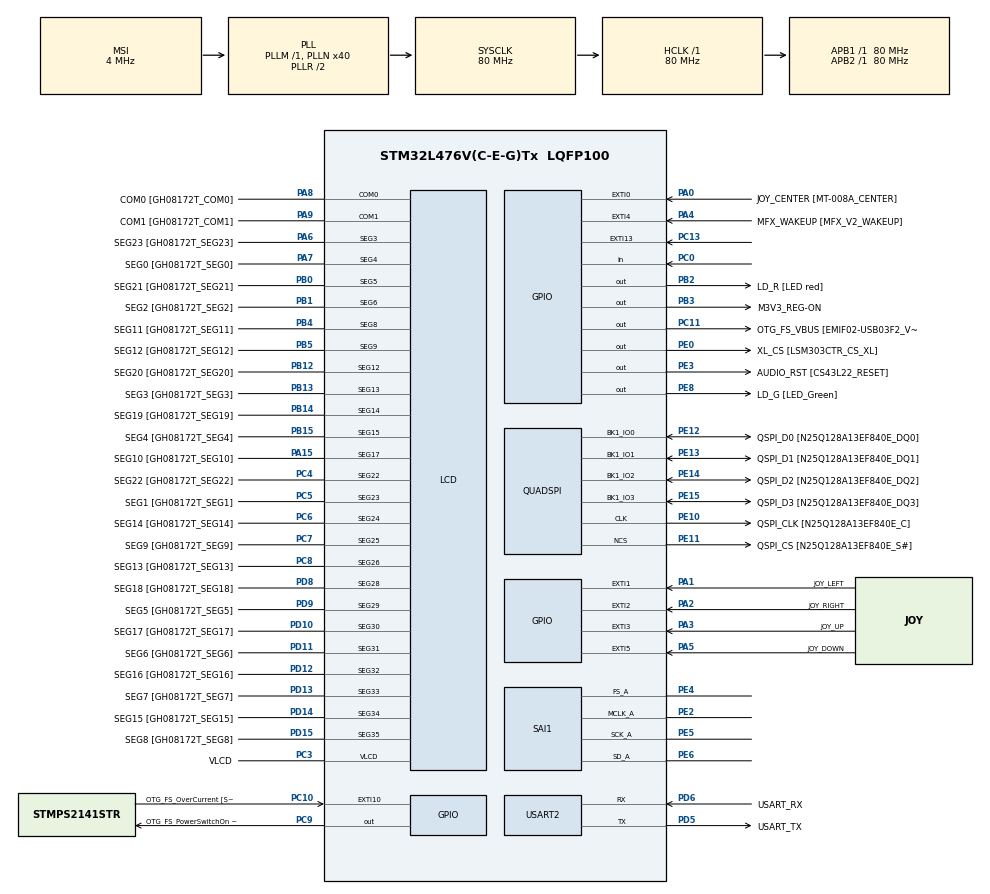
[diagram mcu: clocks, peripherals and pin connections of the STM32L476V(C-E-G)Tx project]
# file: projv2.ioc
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ADC1.AutoInjectedConv=DISABLE
ADC1.Channel-0\#ChannelRegularConversion=ADC_CHANNEL_TEMPSENSOR
ADC1.ClockPrescaler=ADC_CLOCK_ASYNC_DIV8
ADC1.ContinuousConvMode=DISABLE
ADC1.DMAContinuousRequests=DISABLE
ADC1.DataAlign=ADC_DATAALIGN_RIGHT
ADC1.DiscontinuousConvMode=DISABLE
ADC1.EOCSelection=ADC_EOC_SINGLE_CONV
ADC1.EnableAnalogWatchDog1=false
ADC1.EnableAnalogWatchDog2=false
ADC1.EnableAnalogWatchDog3=false
ADC1.EnableInjectedConversion=DISABLE
ADC1.EnableRegularConversion=ENABLE
ADC1.ExternalTrigConv=ADC_SOFTWARE_START
ADC1.ExternalTrigConvEdge=ADC_EXTERNALTRIGCONVEDGE_NONE
ADC1.InjectedDiscontinuousConvMode=DISABLE
ADC1.LowPowerAutoWait=DISABLE
ADC1.NbrOfConversion=1
ADC1.NbrOfConversionFlag=1
ADC1.OffsetNumber-0\#ChannelRegularConversion=ADC_OFFSET_NONE
ADC1.Overrun=ADC_OVR_DATA_PRESERVED
ADC1.OversamplingMode=DISABLE
ADC1.Rank-0\#ChannelRegularConversion=1
ADC1.Resolution=ADC_RESOLUTION_12B
ADC1.SamplingTime-0\#ChannelRegularConversion=ADC_SAMPLETIME_640CYCLES_5
ADC1.ScanConvMode=ADC_SCAN_DISABLE
ADC1.SingleDiff-0\#ChannelRegularConversion=ADC_SINGLE_ENDED
ADC1.master=1
Mcu.Family=STM32L4
Mcu.Name=STM32L476V(C-E-G)Tx
Mcu.Package=LQFP100
NVIC.ADC1_2_IRQn=true\:0\:0\:false\:false\:true
NVIC.EXTI0_IRQn=true\:0\:0\:false\:false\:true
NVIC.EXTI15_10_IRQn=true\:0\:0\:false\:false\:true
NVIC.EXTI1_IRQn=true\:0\:0\:false\:false\:true
NVIC.EXTI2_IRQn=true\:0\:0\:false\:false\:true
NVIC.EXTI3_IRQn=true\:0\:0\:false\:false\:true
NVIC.EXTI9_5_IRQn=true\:0\:0\:false\:false\:true
NVIC.PriorityGroup=NVIC_PRIORITYGROUP_4
NVIC.RTC_Alarm_IRQn=true\:0\:0\:false\:false\:true
NVIC.USART2_IRQn=true\:0\:0\:false\:false\:true
PA0.GPIO_Label=JOY_CENTER [MT-008A_CENTER]
PA0.GPIO_ModeDefaultEXTI=GPIO_MODE_IT_FALLING
PA0.Signal=GPXTI0
PA1.GPIO_Label=JOY_LEFT
PA1.GPIO_ModeDefaultEXTI=GPIO_MODE_IT_FALLING
PA1.GPIO_PuPd=GPIO_PULLDOWN
PA1.Signal=GPXTI1
PA10.GPIO_Label=COM2 [GH08172T_COM2]
PA10.GPIO_Mode=GPIO_MODE_AF_PP
PA10.GPIO_PuPd=GPIO_NOPULL
PA10.GPIO_Speed=GPIO_SPEED_FREQ_LOW
PA10.Signal=LCD_COM2
PA11.GPIO_Label=OTG_FS_DM [EMIF02-USB03F2_D-out]
PA11.GPIO_Mode=GPIO_MODE_AF_PP
PA11.GPIO_PuPd=GPIO_NOPULL
PA11.GPIO_Speed=GPIO_SPEED_FREQ_VERY_HIGH
PA11.Signal=USB_OTG_FS_DM
PA12.GPIO_Label=OTG_FS_DP [EMIF02-USB03F2_D+out]
PA12.GPIO_Mode=GPIO_MODE_AF_PP
PA12.GPIO_PuPd=GPIO_NOPULL
PA12.GPIO_Speed=GPIO_SPEED_FREQ_VERY_HIGH
PA12.Signal=USB_OTG_FS_DP
PA13.GPIO_Label=SWDIO
PA13.Signal=SYS_JTMS-SWDIO
PA14.GPIO_Label=SWCLK
PA14.Signal=SYS_JTCK-SWCLK
PA15.GPIO_Label=SEG10 [GH08172T_SEG10]
PA15.GPIO_Mode=GPIO_MODE_AF_PP
PA15.GPIO_PuPd=GPIO_NOPULL
PA15.GPIO_Speed=GPIO_SPEED_FREQ_LOW
PA15.Mode=SEG17
PA15.Signal=LCD_SEG17
PA2.GPIO_Label=JOY_RIGHT
PA2.GPIO_ModeDefaultEXTI=GPIO_MODE_IT_FALLING
PA2.GPIO_PuPd=GPIO_PULLDOWN
PA2.Signal=GPXTI2
PA3.GPIO_Label=JOY_UP
PA3.GPIO_ModeDefaultEXTI=GPIO_MODE_IT_FALLING
PA3.GPIO_PuPd=GPIO_PULLDOWN
PA3.Signal=GPXTI3
PA4.GPIO_Label=MFX_WAKEUP [MFX_V2_WAKEUP]
PA4.GPIO_ModeDefaultEXTI=GPIO_MODE_EVT_RISING
PA4.GPIO_PuPd=GPIO_NOPULL
PA4.Signal=GPXTI4
PA5.GPIO_Label=JOY_DOWN
PA5.GPIO_ModeDefaultEXTI=GPIO_MODE_IT_FALLING
PA5.GPIO_PuPd=GPIO_PULLDOWN
PA5.Signal=GPXTI5
PA6.GPIO_Label=SEG23 [GH08172T_SEG23]
PA6.GPIO_Mode=GPIO_MODE_AF_PP
PA6.GPIO_PuPd=GPIO_NOPULL
PA6.GPIO_Speed=GPIO_SPEED_FREQ_LOW
PA6.Mode=SEG3
PA6.Signal=LCD_SEG3
PA7.GPIO_Label=SEG0 [GH08172T_SEG0]
PA7.GPIO_Mode=GPIO_MODE_AF_PP
PA7.GPIO_PuPd=GPIO_NOPULL
PA7.GPIO_Speed=GPIO_SPEED_FREQ_LOW
PA7.Mode=SEG4
PA7.Signal=LCD_SEG4
PA8.GPIO_Label=COM0 [GH08172T_COM0]
PA8.GPIO_Mode=GPIO_MODE_AF_PP
PA8.GPIO_PuPd=GPIO_NOPULL
PA8.GPIO_Speed=GPIO_SPEED_FREQ_LOW
PA8.Mode=1/2 Duty Cycle
PA8.Signal=LCD_COM0
PA9.GPIO_Label=COM1 [GH08172T_COM1]
PA9.GPIO_Mode=GPIO_MODE_AF_PP
PA9.GPIO_PuPd=GPIO_NOPULL
PA9.GPIO_Speed=GPIO_SPEED_FREQ_LOW
PA9.Mode=1/2 Duty Cycle
PA9.Signal=LCD_COM1
PB0.GPIO_Label=SEG21 [GH08172T_SEG21]
PB0.GPIO_Mode=GPIO_MODE_AF_PP
PB0.GPIO_PuPd=GPIO_NOPULL
PB0.GPIO_Speed=GPIO_SPEED_FREQ_LOW
PB0.Mode=SEG5
PB0.Signal=LCD_SEG5
PB1.GPIO_Label=SEG2 [GH08172T_SEG2]
PB1.GPIO_Mode=GPIO_MODE_AF_PP
PB1.GPIO_PuPd=GPIO_NOPULL
PB1.GPIO_Speed=GPIO_SPEED_FREQ_LOW
PB1.Mode=SEG6
PB1.Signal=LCD_SEG6
PB10.GPIO_Label=MFX_I2C_SLC [MFX_V2_I2C_SCL]
PB10.GPIO_Mode=GPIO_MODE_AF_OD
PB10.GPIO_PuPdOD=GPIO_PULLUP
PB10.GPIO_Speed=GPIO_SPEED_FREQ_VERY_HIGH
PB10.Signal=I2C2_SCL
PB11.GPIO_Label=MFX_I2C_SDA [MFX_V2_I2C_SDA]
PB11.GPIO_Mode=GPIO_MODE_AF_OD
PB11.GPIO_PuPdOD=GPIO_PULLUP
PB11.GPIO_Speed=GPIO_SPEED_FREQ_VERY_HIGH
PB11.Signal=I2C2_SDA
PB12.GPIO_Label=SEG20 [GH08172T_SEG20]
PB12.GPIO_Mode=GPIO_MODE_AF_PP
PB12.GPIO_PuPd=GPIO_NOPULL
PB12.GPIO_Speed=GPIO_SPEED_FREQ_LOW
PB12.Mode=SEG12
PB12.Signal=LCD_SEG12
PB13.GPIO_Label=SEG3 [GH08172T_SEG3]
PB13.GPIO_Mode=GPIO_MODE_AF_PP
PB13.GPIO_PuPd=GPIO_NOPULL
PB13.GPIO_Speed=GPIO_SPEED_FREQ_LOW
PB13.Mode=SEG13
PB13.Signal=LCD_SEG13
PB14.GPIO_Label=SEG19 [GH08172T_SEG19]
PB14.GPIO_Mode=GPIO_MODE_AF_PP
PB14.GPIO_PuPd=GPIO_NOPULL
PB14.GPIO_Speed=GPIO_SPEED_FREQ_LOW
PB14.Mode=SEG14
PB14.Signal=LCD_SEG14
PB15.GPIO_Label=SEG4 [GH08172T_SEG4]
PB15.GPIO_Mode=GPIO_MODE_AF_PP
PB15.GPIO_PuPd=GPIO_NOPULL
PB15.GPIO_Speed=GPIO_SPEED_FREQ_LOW
PB15.Mode=SEG15
PB15.Signal=LCD_SEG15
PB2.GPIO_Label=LD_R [LED red]
PB2.GPIO_ModeDefaultOutputPP=GPIO_MODE_OUTPUT_PP
PB2.GPIO_PuPd=GPIO_PULLUP
PB2.GPIO_Speed=GPIO_SPEED_FREQ_VERY_HIGH
PB2.Signal=GPIO_Output
PB3.GPIO_Label=M3V3_REG-ON
PB3.GPIO_ModeDefaultOutputPP=GPIO_MODE_OUTPUT_PP
PB3.GPIO_PuPd=GPIO_NOPULL
PB3.GPIO_Speed=GPIO_SPEED_FREQ_LOW
PB3.Signal=GPIO_Output
PB4.GPIO_Label=SEG11 [GH08172T_SEG11]
PB4.GPIO_Mode=GPIO_MODE_AF_PP
PB4.GPIO_PuPd=GPIO_NOPULL
PB4.GPIO_Speed=GPIO_SPEED_FREQ_LOW
PB4.Mode=SEG8
PB4.Signal=LCD_SEG8
PB5.GPIO_Label=SEG12 [GH08172T_SEG12]
PB5.GPIO_Mode=GPIO_MODE_AF_PP
PB5.GPIO_PuPd=GPIO_NOPULL
PB5.GPIO_Speed=GPIO_SPEED_FREQ_LOW
PB5.Mode=SEG9
PB5.Signal=LCD_SEG9
PB9.GPIO_FM9=__NULL
PB9.GPIO_Label=COM3 [GH08172T_COM3]
PB9.GPIO_Mode=GPIO_MODE_AF_PP
PB9.GPIO_PuPd=GPIO_NOPULL
PB9.GPIO_Speed=GPIO_SPEED_FREQ_LOW
PB9.Signal=LCD_COM3
PC0.Signal=GPIO_Input
PC10.GPIO_Label=OTG_FS_OverCurrent [STMPS2141STR_FAULT]
PC10.GPIO_ModeDefaultEXTI=GPIO_MODE_EVT_RISING
PC10.GPIO_PuPd=GPIO_NOPULL
PC10.Signal=GPXTI10
PC11.GPIO_Label=OTG_FS_VBUS [EMIF02-USB03F2_Vbus]
PC11.GPIO_ModeDefaultOutputPP=GPIO_MODE_OUTPUT_PP
PC11.GPIO_PuPd=GPIO_NOPULL
PC11.GPIO_Speed=GPIO_SPEED_FREQ_LOW
PC11.Signal=GPIO_Output
PC13.Signal=GPXTI13
PC14/OSC32_IN.Signal=RCC_OSC32_IN
PC15/OSC32_OUT.Signal=RCC_OSC32_OUT
PC3.GPIO_Label=VLCD
PC3.GPIO_Mode=GPIO_MODE_AF_PP
PC3.GPIO_PuPd=GPIO_NOPULL
PC3.GPIO_Speed=GPIO_SPEED_FREQ_LOW
PC3.Mode=1/2 Duty Cycle
PC3.Signal=LCD_VLCD
PC4.GPIO_Label=SEG22 [GH08172T_SEG22]
PC4.GPIO_Mode=GPIO_MODE_AF_PP
PC4.GPIO_PuPd=GPIO_NOPULL
PC4.GPIO_Speed=GPIO_SPEED_FREQ_LOW
PC4.Mode=SEG22
PC4.Signal=LCD_SEG22
PC5.GPIO_Label=SEG1 [GH08172T_SEG1]
PC5.GPIO_Mode=GPIO_MODE_AF_PP
PC5.GPIO_PuPd=GPIO_NOPULL
PC5.GPIO_Speed=GPIO_SPEED_FREQ_LOW
PC5.Mode=SEG23
PC5.Signal=LCD_SEG23
PC6.GPIO_Label=SEG14 [GH08172T_SEG14]
PC6.GPIO_Mode=GPIO_MODE_AF_PP
PC6.GPIO_PuPd=GPIO_NOPULL
PC6.GPIO_Speed=GPIO_SPEED_FREQ_LOW
PC6.Mode=SEG24
PC6.Signal=LCD_SEG24
PC7.GPIO_Label=SEG9 [GH08172T_SEG9]
PC7.GPIO_Mode=GPIO_MODE_AF_PP
PC7.GPIO_PuPd=GPIO_NOPULL
PC7.GPIO_Speed=GPIO_SPEED_FREQ_LOW
PC7.Mode=SEG25
PC7.Signal=LCD_SEG25
PC8.GPIO_Label=SEG13 [GH08172T_SEG13]
PC8.GPIO_Mode=GPIO_MODE_AF_PP
PC8.GPIO_PuPd=GPIO_NOPULL
PC8.GPIO_Speed=GPIO_SPEED_FREQ_LOW
PC8.Mode=SEG26
PC8.Signal=LCD_SEG26
PC9.GPIO_Label=OTG_FS_PowerSwitchOn [STMPS2141STR_EN]
PC9.GPIO_ModeDefaultOutputPP=GPIO_MODE_OUTPUT_PP
PC9.GPIO_PuPd=GPIO_NOPULL
PC9.GPIO_Speed=GPIO_SPEED_FREQ_LOW
PC9.PinState=GPIO_PIN_SET
PC9.Signal=GPIO_Output
PD10.GPIO_Label=SEG17 [GH08172T_SEG17]
PD10.GPIO_Mode=GPIO_MODE_AF_PP
PD10.GPIO_PuPd=GPIO_NOPULL
PD10.GPIO_Speed=GPIO_SPEED_FREQ_LOW
PD10.Mode=SEG30
PD10.Signal=LCD_SEG30
PD11.GPIO_Label=SEG6 [GH08172T_SEG6]
PD11.GPIO_Mode=GPIO_MODE_AF_PP
PD11.GPIO_PuPd=GPIO_NOPULL
PD11.GPIO_Speed=GPIO_SPEED_FREQ_LOW
PD11.Mode=SEG31
PD11.Signal=LCD_SEG31
PD12.GPIO_Label=SEG16 [GH08172T_SEG16]
PD12.GPIO_Mode=GPIO_MODE_AF_PP
PD12.GPIO_PuPd=GPIO_NOPULL
PD12.GPIO_Speed=GPIO_SPEED_FREQ_LOW
PD12.Mode=SEG32
PD12.Signal=LCD_SEG32
PD13.GPIO_Label=SEG7 [GH08172T_SEG7]
PD13.GPIO_Mode=GPIO_MODE_AF_PP
PD13.GPIO_PuPd=GPIO_NOPULL
PD13.GPIO_Speed=GPIO_SPEED_FREQ_LOW
PD13.Mode=SEG33
PD13.Signal=LCD_SEG33
PD14.GPIO_Label=SEG15 [GH08172T_SEG15]
PD14.GPIO_Mode=GPIO_MODE_AF_PP
PD14.GPIO_PuPd=GPIO_NOPULL
PD14.GPIO_Speed=GPIO_SPEED_FREQ_LOW
PD14.Mode=SEG34
PD14.Signal=LCD_SEG34
PD15.GPIO_Label=SEG8 [GH08172T_SEG8]
PD15.GPIO_Mode=GPIO_MODE_AF_PP
PD15.GPIO_PuPd=GPIO_NOPULL
PD15.GPIO_Speed=GPIO_SPEED_FREQ_LOW
PD15.Mode=SEG35
PD15.Signal=LCD_SEG35
PD5.GPIO_Label=USART_TX
PD5.GPIO_Mode=GPIO_MODE_AF_PP
PD5.GPIO_PuPd=GPIO_PULLUP
PD5.GPIO_Speed=GPIO_SPEED_FREQ_VERY_HIGH
PD5.Mode=Asynchronous
PD5.Signal=USART2_TX
PD6.GPIO_Label=USART_RX
PD6.GPIO_Mode=GPIO_MODE_AF_PP
PD6.GPIO_PuPd=GPIO_PULLUP
PD6.GPIO_Speed=GPIO_SPEED_FREQ_VERY_HIGH
PD6.Mode=Asynchronous
PD6.Signal=USART2_RX
PD8.GPIO_Label=SEG18 [GH08172T_SEG18]
PD8.GPIO_Mode=GPIO_MODE_AF_PP
PD8.GPIO_PuPd=GPIO_NOPULL
PD8.GPIO_Speed=GPIO_SPEED_FREQ_LOW
PD8.Mode=SEG28
PD8.Signal=LCD_SEG28
PD9.GPIO_Label=SEG5 [GH08172T_SEG5]
PD9.GPIO_Mode=GPIO_MODE_AF_PP
PD9.GPIO_PuPd=GPIO_NOPULL
PD9.GPIO_Speed=GPIO_SPEED_FREQ_LOW
PD9.Mode=SEG29
PD9.Signal=LCD_SEG29
PE0.GPIO_Label=XL_CS [LSM303CTR_CS_XL]
PE0.GPIO_ModeDefaultOutputPP=GPIO_MODE_OUTPUT_PP
PE0.GPIO_PuPd=GPIO_NOPULL
PE0.GPIO_Speed=GPIO_SPEED_FREQ_LOW
PE0.Signal=GPIO_Output
PE10.GPIO_Label=QSPI_CLK [N25Q128A13EF840E_C]
PE10.GPIO_Mode=GPIO_MODE_AF_PP
PE10.GPIO_PuPd=GPIO_NOPULL
PE10.GPIO_Speed=GPIO_SPEED_FREQ_VERY_HIGH
PE10.Mode=Single Bank
PE10.Signal=QUADSPI_CLK
PE11.GPIO_Label=QSPI_CS [N25Q128A13EF840E_S\#]
PE11.GPIO_Mode=GPIO_MODE_AF_PP
PE11.GPIO_PuPd=GPIO_NOPULL
PE11.GPIO_Speed=GPIO_SPEED_FREQ_VERY_HIGH
PE11.Mode=Single Bank
PE11.Signal=QUADSPI_NCS
PE12.GPIO_Label=QSPI_D0 [N25Q128A13EF840E_DQ0]
PE12.GPIO_Mode=GPIO_MODE_AF_PP
PE12.GPIO_PuPd=GPIO_NOPULL
PE12.GPIO_Speed=GPIO_SPEED_FREQ_VERY_HIGH
PE12.Mode=Single Bank
PE12.Signal=QUADSPI_BK1_IO0
PE13.GPIO_Label=QSPI_D1 [N25Q128A13EF840E_DQ1]
PE13.GPIO_Mode=GPIO_MODE_AF_PP
PE13.GPIO_PuPd=GPIO_NOPULL
PE13.GPIO_Speed=GPIO_SPEED_FREQ_VERY_HIGH
PE13.Mode=Single Bank
PE13.Signal=QUADSPI_BK1_IO1
PE14.GPIO_Label=QSPI_D2 [N25Q128A13EF840E_DQ2]
PE14.GPIO_Mode=GPIO_MODE_AF_PP
PE14.GPIO_PuPd=GPIO_NOPULL
PE14.GPIO_Speed=GPIO_SPEED_FREQ_VERY_HIGH
PE14.Mode=Single Bank
PE14.Signal=QUADSPI_BK1_IO2
PE15.GPIO_Label=QSPI_D3 [N25Q128A13EF840E_DQ3]
PE15.GPIO_Mode=GPIO_MODE_AF_PP
PE15.GPIO_PuPd=GPIO_NOPULL
PE15.GPIO_Speed=GPIO_SPEED_FREQ_VERY_HIGH
PE15.Mode=Single Bank
PE15.Signal=QUADSPI_BK1_IO3
PE2.Mode=SAI_A_MasterWithClock
PE2.Signal=SAI1_MCLK_A
PE3.GPIO_Label=AUDIO_RST [CS43L22_RESET]
PE3.GPIO_ModeDefaultOutputPP=GPIO_MODE_OUTPUT_PP
PE3.GPIO_PuPd=GPIO_NOPULL
PE3.GPIO_Speed=GPIO_SPEED_FREQ_HIGH
PE3.Signal=GPIO_Output
PE4.Mode=SAI_A_MasterWithClock
PE4.Signal=SAI1_FS_A
PE5.Mode=SAI_A_MasterWithClock
PE5.Signal=SAI1_SCK_A
PE6.Mode=SAI_A_MasterWithClock
PE6.Signal=SAI1_SD_A
PE7.GPIO_Label=AUDIO_DIN [MP34DT01_DOUT]
PE7.GPIO_Mode=GPIO_MODE_AF_PP
PE7.GPIO_PuPd=GPIO_NOPULL
PE7.GPIO_Speed=GPIO_SPEED_FREQ_VERY_HIGH
PE7.Signal=SAI1_SD_B
PE8.GPIO_Label=LD_G [LED_Green]
PE8.GPIO_ModeDefaultOutputPP=GPIO_MODE_OUTPUT_PP
PE8.GPIO_PuPd=GPIO_PULLUP
PE8.GPIO_Speed=GPIO_SPEED_FREQ_VERY_HIGH
PE8.Signal=GPIO_Output
PE9.GPIO_Label=AUDIO_CLK [MP34DT01_CLK]
PE9.GPIO_Mode=GPIO_MODE_AF_PP
PE9.GPIO_PuPd=GPIO_NOPULL
PE9.GPIO_Speed=GPIO_SPEED_FREQ_LOW
PE9.Signal=SAI1_FS_B
PH0/OSC_IN.Signal=RCC_OSC_IN
PH1/OSC_OUT.Signal=RCC_OSC_OUT
ProjectManager.HeapSize=0x200
ProjectManager.StackSize=0x400
ProjectManager.TargetToolchain=SW4STM32
RCC.ADCFreq_Value=32000000
RCC.AHBFreq_Value=80000000
RCC.APB1Freq_Value=80000000
RCC.APB1TimFreq_Value=80000000
RCC.APB2Freq_Value=80000000
RCC.APB2TimFreq_Value=80000000
RCC.ClockTypeHCLK=RCC_CLOCKTYPE_HCLK
RCC.ClockTypePCLK1=RCC_CLOCKTYPE_PCLK1
RCC.ClockTypePCLK2=RCC_CLOCKTYPE_PCLK2
RCC.ClockTypeSysClk=RCC_CLOCKTYPE_SYSCLK
RCC.CortexFreq_Value=80000000
RCC.EnableCSSLSE=false
RCC.EnbaleCSS=false
RCC.HCLKFreq_Value=80000000
RCC.HSE_VALUE=8000000
RCC.HSI_VALUE=16000000
RCC.LSE_VALUE=32768
RCC.MSI_VALUE=4000000
RCC.PLLN=40
RCC.PLLSAI1N=16
RCC.PREFETCH_ENABLE=1
RCC.RTCClockSelection=RCC_RTCCLKSOURCE_LSI
RCC.SYSCLKFreq_VALUE=80000000
RCC.SYSCLKSource=RCC_SYSCLKSOURCE_PLLCLK
RCC.USBFreq_Value=32000000
RCC.VCOOutputFreq_Value=160000000
RTC.Alarm-Alarm\ A=RTC_ALARM_A
RTC.AlarmMaskDateWeekDay-Alarm\ A=RTC_ALARMMASK_DATEWEEKDAY
RTC.AlarmMaskHours-Alarm\ A=RTC_ALARMMASK_HOURS
RTC.AlarmMaskMinutes-Alarm\ A=RTC_ALARMMASK_MINUTES
RTC.OutPut=RTC_OUTPUT_DISABLE
RTC.OutPutPolarity=RTC_OUTPUT_POLARITY_HIGH
RTC.OutPutType=RTC_OUTPUT_TYPE_OPENDRAIN
RTC.Seconds=0
SAI1.Instance-SAI_A_MasterWithClock=SAI$Index_Block_A
SAI1.MClockEnable-SAI_A_MasterWithClock=SAI_MASTERCLOCK_ENABLE
SAI1.SlotActive-SAI_A_MasterWithClock=0x00000000
SAI1.Synchro-SAI_A_MasterWithClock=SAI_ASYNCHRONOUS
SAI1.VirtualMode-SAI_A_MasterWithClock=VM_MASTER
USART2.HwFlowCtl-Asynchronous=UART_HWCONTROL_NONE
USART2.VirtualMode-Asynchronous=VM_ASYNC
USART2.WordLength=WORDLENGTH_8B
VP_ADC1_TempSens_Input.Mode=IN-TempSens
VP_LCD_LCD_mux.Mode=Multiplex
VP_RTC_VS_RTC_Activate.Mode=RTC_Enabled
VP_RTC_VS_RTC_Alarm_A_Intern.Mode=Alarm A
VP_RTC_VS_RTC_Calendar.Mode=RTC_Calendar
board=STM32L476G-DISCO

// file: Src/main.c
/**
  ******************************************************************************
  * File Name          : main.c
  * Description        : Main program body
  ******************************************************************************
  *
  * COPYRIGHT(c) 2017 STMicroelectronics
  *
  * Redistribution and use in source and binary forms, with or without modification,
  * are permitted provided that the following conditions are met:
  *   1. Redistributions of source code must retain the above copyright notice,
  *      this list of conditions and the following disclaimer.
  *   2. Redistributions in binary form must reproduce the above copyright notice,
  *      this list of conditions and the following disclaimer in the documentation
  *      and/or other materials provided with the distribution.
  *   3. Neither the name of STMicroelectronics nor the names of its contributors
  *      may be used to endorse or promote products derived from this software
  *      without specific prior written permission.
  *
  * THIS SOFTWARE IS PROVIDED BY THE COPYRIGHT HOLDERS AND CONTRIBUTORS "AS IS"
  * AND ANY EXPRESS OR IMPLIED WARRANTIES, INCLUDING, BUT NOT LIMITED TO, THE
  * IMPLIED WARRANTIES OF MERCHANTABILITY AND FITNESS FOR A PARTICULAR PURPOSE ARE
  * DISCLAIMED. IN NO EVENT SHALL THE COPYRIGHT HOLDER OR CONTRIBUTORS BE LIABLE
  * FOR ANY DIRECT, INDIRECT, INCIDENTAL, SPECIAL, EXEMPLARY, OR CONSEQUENTIAL
  * DAMAGES (INCLUDING, BUT NOT LIMITED TO, PROCUREMENT OF SUBSTITUTE GOODS OR
  * SERVICES; LOSS OF USE, DATA, OR PROFITS; OR BUSINESS INTERRUPTION) HOWEVER
  * CAUSED AND ON ANY THEORY OF LIABILITY, WHETHER IN CONTRACT, STRICT LIABILITY,
  * OR TORT (INCLUDING NEGLIGENCE OR OTHERWISE) ARISING IN ANY WAY OUT OF THE USE
  * OF THIS SOFTWARE, EVEN IF ADVISED OF THE POSSIBILITY OF SUCH DAMAGE.
  *
  ******************************************************************************
  */
#include "main.h"
#include "stm32l4xx_hal.h"
#include "adc.h"
#include "lcd.h"
#include "quadspi.h"
#include "rtc.h"
#include "usart.h"
#include "gpio.h"

/* USER CODE BEGIN Includes */
#include<stdio.h>
#include<string.h>
#include"stm32l476g_discovery_glass_lcd.h"
#include"stm32l476g_discovery_qspi.h"
#include<stdlib.h>
#define BUFFER_SIZE         ((uint32_t)0x000f)
#define DATE_SIZE 			((uint32_t)0x0004)
#define TEMP_SIZE 			((uint32_t)0x0001)
#define HOUR_SIZE 			((uint32_t)0x0002)
#define WRITE_READ_ADDR     ((uint32_t)0x0050)
#define QSPI_BASE_ADDR      ((uint32_t)0x90000000)

/* USER CODE END Includes */

/* USER CODE BEGIN PV */
/* Private variables ---------------------------------------------------------*/

/* USER CODE END PV */

void SystemClock_Config(void);
void Error_Handler(void);

/* USER CODE BEGIN PFP */
/* Private function prototypes -----------------------------------------------*/

/* USER CODE END PFP */

/* USER CODE BEGIN 0 */

volatile int adc_flag;
uint16_t adc_value;
uint16_t temperature;
RTC_TimeTypeDef sTime;
RTC_DateTypeDef sDate;
volatile int lcd_flag=0;
volatile int lcd_pomiar=0;
int ind=0;
int current_ind=1;
char tmp1_from_flash[101][15];
char data[15]="     TEMP ";
char data1[21]="     DATA ";;
char data2[15]="     GODZ ";;

uint8_t qspi_aRxBuffer[BUFFER_SIZE];

int _write(int file, char *ptr, int len){

	HAL_UART_Transmit(&huart2, ptr ,len , 50);
	return len;
}

void HAL_ADC_ConvCpltCallback(ADC_HandleTypeDef *hadc)
{

	if (hadc==&hadc1)
	{
		adc_value=HAL_ADC_GetValue(&hadc1);
		adc_flag=1;
	}
}

void HAL_RTC_AlarmAEventCallback(RTC_HandleTypeDef *hrtc){

	HAL_ADC_Start_IT(&hadc1);
}
void HAL_GPIO_EXTI_Callback(uint16_t GPIO_Pin){
	 if(GPIO_Pin == JOY_UP_Pin){
	 HAL_GPIO_TogglePin(LD_G_GPIO_Port, LD_G_Pin);
	 if(current_ind==100) current_ind = 0;
	 ++current_ind;
	 current_ind=current_ind%101;

	 lcd_flag=1;
	 }
	 if(GPIO_Pin == JOY_DOWN_Pin){
		 HAL_GPIO_TogglePin(LD_G_GPIO_Port, LD_G_Pin);
		 --current_ind;
		 if(current_ind==0)current_ind=100;
		 lcd_flag=1;
		 }
	 if(GPIO_Pin==JOY_CENTER_Pin){
		 lcd_pomiar=1;	 }

	}

int QSPI_Write(int temp, RTC_DateTypeDef sDate, RTC_TimeTypeDef sTime, int ind){

	int i=0;
	//sprintf(data1, "TEMP %d DATA %02d-%02d-20%02d GODZ %02d-%02d    ",(int)temp, sDate.Date, sDate.Month, sDate.Year, sTime.Hours , sTime.Minutes);
	 for(i=0;i<101;i++){
		 BSP_QSPI_Read((uint8_t *)tmp1_from_flash[i], WRITE_READ_ADDR+(uint32_t)(BUFFER_SIZE*(i)), BUFFER_SIZE);

		 }

	ind=(int)tmp1_from_flash[0][0];
	sprintf(tmp1_from_flash[ind], "%02d%04d%02d%02d%02d%02d",(int)temp, sDate.Year, sDate.Month, sDate.WeekDay, sTime.Hours, sTime.Minutes);	 if(BSP_QSPI_Erase_Block(WRITE_READ_ADDR) != QSPI_OK)
			      {
			        BSP_LCD_GLASS_ScrollSentence((uint8_t *)"      QSPI ERASE : FAILED.", 1, SCROLL_SPEED_HIGH);
			        return 0;
			      }
			      else
			      {

			    	  for(i=1;i<101;i++){
			    			 if(BSP_QSPI_Write((uint8_t *)tmp1_from_flash[i], WRITE_READ_ADDR+(uint32_t)(BUFFER_SIZE*(i)),BUFFER_SIZE)!=QSPI_OK) return 0;
			    	  }
			    	  char index[1];
			     	  ind=ind+1;
			       	  ind=ind%100;
			      	  index[0]=ind;
			       	  BSP_QSPI_Write((uint8_t *)index, WRITE_READ_ADDR, (uint32_t)(sizeof(index)));
			    	  return 1;
			      }
}
/* USER CODE END 0 */

int main(void)

{
	//data tmp_from_flash[100];
  /* USER CODE BEGIN 1 */
	unsigned short int TS_CAL1=*((volatile unsigned short int*)0x1FFF75A8);
	unsigned short int TS_CAL2=*((volatile unsigned short int*)0x1FFF75CA);

  /* USER CODE END 1 */

  /* MCU Configuration----------------------------------------------------------*/

  /* Reset of all peripherals, Initializes the Flash interface and the Systick. */
  HAL_Init();

  /* Configure the system clock */
  SystemClock_Config();

  /* Initialize all configured peripherals */
  MX_GPIO_Init();
  BSP_LCD_GLASS_Init();
  MX_ADC1_Init();
  MX_USART2_UART_Init();
  MX_RTC_Init();
  HAL_RTC_MspInit (&hrtc);
  QSPI_Init();

  /* USER CODE BEGIN 2 */
  HAL_ADC_Start_IT(&hadc1);
  //uint8_t where[3];
  //BSP_QSPI_Read(where, WRITE_READ_ADDR,(uint32_t)0x0003);
  //ind=where[1];
 __HAL_RTC_ALARM_ENABLE_IT(&hrtc, RTC_IT_ALRA);
 BSP_LCD_GLASS_ScrollSentence((uint8_t *)"PRESS JOY UP, DOWN OR CENTER TO NAVIGATE          ", 1, SCROLL_SPEED_HIGH);
 //HAL_ADC_Start_IT(&hadc1);
  /* USER CODE END 2 */

  /* Infinite loop */
  while (1)
  {
  /* USER CODE BEGIN 3 */
	  if(adc_flag==1){

		temperature=(110-30)*(adc_value-TS_CAL1)/(TS_CAL2-TS_CAL1)+30;
		 printf("Zmierzono %d, %d ,%d\r\n", TS_CAL1 , TS_CAL2,temperature);
		 adc_flag=0;
		 HAL_RTC_GetTime(&hrtc,&sTime,RTC_FORMAT_BIN);
		 HAL_RTC_GetDate(&hrtc,&sDate,RTC_FORMAT_BIN);
		 //printf("%2d: %02d :%02d\r\n", sTime.Hours , sTime.Minutes,sTime.Seconds);
		 if(QSPI_Write((int)temperature, sDate, sTime, ind))
		 {

		 }

	  }

	  if(lcd_flag==1){
		  char data1[6];
		  sprintf(data1, "POM%03d",current_ind);
		  BSP_LCD_GLASS_DisplayString((uint8_t*) data1);
		  lcd_flag=0;
	  }
	  //HAL_ADC_Start_IT(&hadc1);
	  //HAL_LCD_Write(&hlcd,LCD_RAM_REGISTER0, LCD_DIGIT3_COM0_SEG_MASK, (uint32_t *)"3")
	  if(lcd_pomiar==1){
      if(BSP_QSPI_Read(qspi_aRxBuffer, WRITE_READ_ADDR+(uint32_t)BUFFER_SIZE*(current_ind), BUFFER_SIZE) != QSPI_OK)
        BSP_LCD_GLASS_ScrollSentence((uint8_t *)"      QSPI READ : FAILED.", 1, SCROLL_SPEED_HIGH);
      else
      {
    int i;
data[10]=qspi_aRxBuffer[0];
data[11]=qspi_aRxBuffer[1];

data1[10]=qspi_aRxBuffer[2];
data1[11]=qspi_aRxBuffer[3];
data1[12]=qspi_aRxBuffer[4];
data1[13]=qspi_aRxBuffer[5];
data1[14]='-';
data1[15]=qspi_aRxBuffer[6];
data1[16]=qspi_aRxBuffer[7];
data1[17]='-';
data1[18]=qspi_aRxBuffer[8];
data1[19]=qspi_aRxBuffer[9];

data2[10]=qspi_aRxBuffer[10];
data2[11]=qspi_aRxBuffer[11];
data2[12]='-';

data2[13]=qspi_aRxBuffer[12];
data2[14]=qspi_aRxBuffer[13];
    BSP_LCD_GLASS_ScrollSentence((uint8_t *)data, 1, SCROLL_SPEED_HIGH);
    HAL_Delay(200);
  	BSP_LCD_GLASS_Clear();
      BSP_LCD_GLASS_ScrollSentence((uint8_t *)data1, 1, SCROLL_SPEED_HIGH);
    HAL_Delay(200);
    BSP_LCD_GLASS_ScrollSentence((uint8_t *)data2, 1, SCROLL_SPEED_HIGH);
    lcd_flag=1;

      }
      lcd_pomiar=0;

	  }

  }
  /* USER CODE END 3 */

}

/** System Clock Configuration
*/
void SystemClock_Config(void)
{

  RCC_OscInitTypeDef RCC_OscInitStruct;
  RCC_ClkInitTypeDef RCC_ClkInitStruct;
  RCC_PeriphCLKInitTypeDef PeriphClkInit;

    /**Initializes the CPU, AHB and APB busses clocks
    */
  RCC_OscInitStruct.OscillatorType = RCC_OSCILLATORTYPE_LSI|RCC_OSCILLATORTYPE_MSI;
  RCC_OscInitStruct.LSIState = RCC_LSI_ON;
  RCC_OscInitStruct.MSIState = RCC_MSI_ON;
  RCC_OscInitStruct.MSICalibrationValue = 0;
  RCC_OscInitStruct.MSIClockRange = RCC_MSIRANGE_6;
  RCC_OscInitStruct.PLL.PLLState = RCC_PLL_ON;
  RCC_OscInitStruct.PLL.PLLSource = RCC_PLLSOURCE_MSI;
  RCC_OscInitStruct.PLL.PLLM = 1;
  RCC_OscInitStruct.PLL.PLLN = 40;
  RCC_OscInitStruct.PLL.PLLP = RCC_PLLP_DIV7;
  RCC_OscInitStruct.PLL.PLLQ = RCC_PLLQ_DIV2;
  RCC_OscInitStruct.PLL.PLLR = RCC_PLLR_DIV2;
  if (HAL_RCC_OscConfig(&RCC_OscInitStruct) != HAL_OK)
  {
    Error_Handler();
  }

    /**Initializes the CPU, AHB and APB busses clocks
    */
  RCC_ClkInitStruct.ClockType = RCC_CLOCKTYPE_HCLK|RCC_CLOCKTYPE_SYSCLK
                              |RCC_CLOCKTYPE_PCLK1|RCC_CLOCKTYPE_PCLK2;
  RCC_ClkInitStruct.SYSCLKSource = RCC_SYSCLKSOURCE_PLLCLK;
  RCC_ClkInitStruct.AHBCLKDivider = RCC_SYSCLK_DIV1;
  RCC_ClkInitStruct.APB1CLKDivider = RCC_HCLK_DIV1;
  RCC_ClkInitStruct.APB2CLKDivider = RCC_HCLK_DIV1;

  if (HAL_RCC_ClockConfig(&RCC_ClkInitStruct, FLASH_LATENCY_4) != HAL_OK)
  {
    Error_Handler();
  }

  PeriphClkInit.PeriphClockSelection = RCC_PERIPHCLK_RTC|RCC_PERIPHCLK_USART2
                              |RCC_PERIPHCLK_ADC;
  PeriphClkInit.Usart2ClockSelection = RCC_USART2CLKSOURCE_PCLK1;
  PeriphClkInit.AdcClockSelection = RCC_ADCCLKSOURCE_PLLSAI1;
  PeriphClkInit.RTCClockSelection = RCC_RTCCLKSOURCE_LSI;
  PeriphClkInit.PLLSAI1.PLLSAI1Source = RCC_PLLSOURCE_MSI;
  PeriphClkInit.PLLSAI1.PLLSAI1M = 1;
  PeriphClkInit.PLLSAI1.PLLSAI1N = 16;
  PeriphClkInit.PLLSAI1.PLLSAI1P = RCC_PLLP_DIV7;
  PeriphClkInit.PLLSAI1.PLLSAI1Q = RCC_PLLQ_DIV2;
  PeriphClkInit.PLLSAI1.PLLSAI1R = RCC_PLLR_DIV2;
  PeriphClkInit.PLLSAI1.PLLSAI1ClockOut = RCC_PLLSAI1_ADC1CLK;
  if (HAL_RCCEx_PeriphCLKConfig(&PeriphClkInit) != HAL_OK)
  {
    Error_Handler();
  }

    /**Configure the main internal regulator output voltage
    */
  if (HAL_PWREx_ControlVoltageScaling(PWR_REGULATOR_VOLTAGE_SCALE1) != HAL_OK)
  {
    Error_Handler();
  }

    /**Configure the Systick interrupt time
    */
  HAL_SYSTICK_Config(HAL_RCC_GetHCLKFreq()/1000);

    /**Configure the Systick
    */
  HAL_SYSTICK_CLKSourceConfig(SYSTICK_CLKSOURCE_HCLK);

  /* SysTick_IRQn interrupt configuration */
  HAL_NVIC_SetPriority(SysTick_IRQn, 0, 0);
}

void Error_Handler(void)
{
  while(1)
  {
  }
}

/************************ (C) COPYRIGHT STMicroelectronics *****END OF FILE****/
